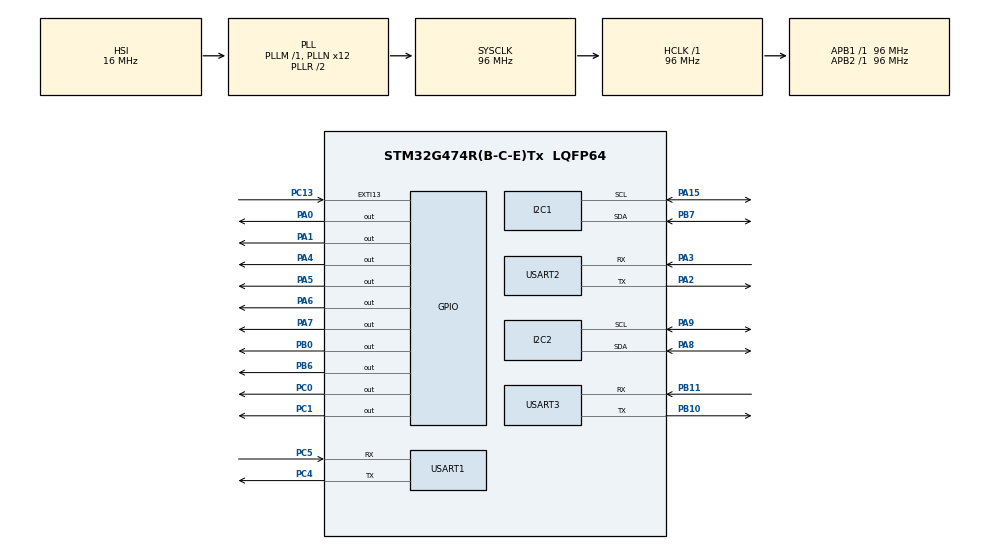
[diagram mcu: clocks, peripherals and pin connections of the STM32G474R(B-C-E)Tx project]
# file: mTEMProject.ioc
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I2C1.Timing=0x20B17DB6
I2C2.Timing=0x20B17DB6
Mcu.Family=STM32G4
Mcu.Name=STM32G474R(B-C-E)Tx
Mcu.Package=LQFP64
NUCLEO-G474RE.BUTTON=1
NUCLEO-G474RE.LD2=true
NUCLEO-G474RE.VCP=true
NVIC.EXTI15_10_IRQn=true\:0\:0\:false\:false\:true\:true\:true\:true
NVIC.PriorityGroup=NVIC_PRIORITYGROUP_4
NVIC.USART1_IRQn=true\:0\:0\:false\:false\:true\:true\:true\:true
NVIC.USART3_IRQn=true\:0\:0\:false\:false\:true\:true\:true\:true
PA0.GPIO_PuPd=GPIO_NOPULL
PA0.Signal=GPIO_Output
PA1.GPIO_PuPd=GPIO_NOPULL
PA1.Signal=GPIO_Output
PA13.GPIO_Label=T_SWDIO
PA13.Mode=Serial_Wire
PA13.Signal=SYS_JTMS-SWDIO
PA14.GPIO_Label=T_SWCLK
PA14.Mode=Serial_Wire
PA14.Signal=SYS_JTCK-SWCLK
PA15.Mode=I2C
PA15.Signal=I2C1_SCL
PA2.Mode=Asynchronous
PA2.Signal=USART2_TX
PA3.Mode=Asynchronous
PA3.Signal=USART2_RX
PA4.Signal=GPIO_Output
PA5.Signal=GPIO_Output
PA6.GPIO_PuPd=GPIO_NOPULL
PA6.Signal=GPIO_Output
PA7.GPIO_PuPd=GPIO_NOPULL
PA7.Signal=GPIO_Output
PA8.Mode=I2C
PA8.Signal=I2C2_SDA
PA9.Mode=I2C
PA9.Signal=I2C2_SCL
PB0.GPIO_PuPd=GPIO_NOPULL
PB0.Signal=GPIO_Output
PB10.Mode=Asynchronous
PB10.Signal=USART3_TX
PB11.Mode=Asynchronous
PB11.Signal=USART3_RX
PB3.GPIO_Label=T_SWO
PB3.Signal=SYS_JTDO-SWO
PB6.Signal=GPIO_Output
PB7.Mode=I2C
PB7.Signal=I2C1_SDA
PC0.Signal=GPIO_Output
PC1.GPIO_PuPd=GPIO_NOPULL
PC1.Signal=GPIO_Output
PC13.Signal=GPXTI13
PC14-OSC32_IN.GPIO_Label=RCC_OSC32_IN
PC14-OSC32_IN.Signal=RCC_OSC32_IN
PC15-OSC32_OUT.GPIO_Label=RCC_OSC32_OUT
PC15-OSC32_OUT.Signal=RCC_OSC32_OUT
PC4.Mode=Asynchronous
PC4.Signal=USART1_TX
PC5.Mode=Asynchronous
PC5.Signal=USART1_RX
PF0-OSC_IN.GPIO_Label=RCC_OSC_IN
PF0-OSC_IN.Mode=HSE-External-Oscillator
PF0-OSC_IN.Signal=RCC_OSC_IN
PF1-OSC_OUT.GPIO_Label=RCC_OSC_OUT
PF1-OSC_OUT.Mode=HSE-External-Oscillator
PF1-OSC_OUT.Signal=RCC_OSC_OUT
ProjectManager.HeapSize=0x200
ProjectManager.StackSize=0x400
ProjectManager.TargetToolchain=STM32CubeIDE
RCC.ADC12Freq_Value=96000000
RCC.ADC345Freq_Value=96000000
RCC.AHBFreq_Value=96000000
RCC.APB1Freq_Value=96000000
RCC.APB1TimFreq_Value=96000000
RCC.APB2Freq_Value=96000000
RCC.APB2TimFreq_Value=96000000
RCC.CortexFreq_Value=96000000
RCC.EXTERNAL_CLOCK_VALUE=12288000
RCC.HCLKFreq_Value=96000000
RCC.HSE_VALUE=24000000
RCC.HSI48_VALUE=48000000
RCC.HSI_VALUE=16000000
RCC.LSE_VALUE=32768
RCC.PLLN=12
RCC.PLLQ=RCC_PLLQ_DIV4
RCC.RTCClockSelection=RCC_RTCCLKSOURCE_LSE
RCC.SYSCLKFreq_VALUE=96000000
RCC.SYSCLKSource=RCC_SYSCLKSOURCE_PLLCLK
RCC.USBFreq_Value=48000000
RCC.VCOOutputFreq_Value=192000000
USART1.VirtualMode-Asynchronous=VM_ASYNC
USART3.VirtualMode-Asynchronous=VM_ASYNC
VP_NUCLEO-G474RE_VS_BSP_COMMON.Mode=COMMON
VP_SYS_VS_DBSignals.Mode=DisableDeadBatterySignals
board=NUCLEO-G474RE

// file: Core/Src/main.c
/* USER CODE BEGIN Header */
/**
  ******************************************************************************
  * @file           : main.c
  * @brief          : Main program body
  ******************************************************************************
  * @attention
  *
  * Copyright (c) 2025 STMicroelectronics.
  * All rights reserved.
  *
  * This software is licensed under terms that can be found in the LICENSE file
  * in the root directory of this software component.
  * If no LICENSE file comes with this software, it is provided AS-IS.
  *
  ******************************************************************************
  */
/* USER CODE END Header */
#include "main.h"

/* USER CODE BEGIN Includes */
#include <stdio.h>
#include <string.h>
#include <RRC_Batt.h>
#include <GSM_SMS.h>
#include <GSM_MQTT.h>
#include <GSM_time.h>
#include <GSM_sleep.h>
#include <Relay.h>
/* USER CODE END Includes */

COM_InitTypeDef BspCOMInit;
I2C_HandleTypeDef hi2c1;
I2C_HandleTypeDef hi2c2;

UART_HandleTypeDef huart1;
UART_HandleTypeDef huart3;

/* USER CODE BEGIN PV */
uint8_t message[512] = {0};
int scanDuration = 20000;
/* USER CODE END PV */

void SystemClock_Config(void);
static void MX_GPIO_Init(void);
static void MX_I2C1_Init(void);
static void MX_I2C2_Init(void);
static void MX_USART3_UART_Init(void);
static void MX_USART1_UART_Init(void);

/* USER CODE BEGIN 0 */

// User-defined wakeup for powering instruments using SMS
void power_system(const char* testtime){

    HAL_UART_Transmit(&huart3, (uint8_t*)"testtime: ", 10, 100);
    HAL_UART_Transmit(&huart3, (uint8_t*)testtime, strlen(testtime), 100);
    HAL_UART_Transmit(&huart3, (uint8_t*)"\r\n", 2, 100);

    HAL_UART_Transmit(&huart3, (uint8_t*)"timeGSM: ", 9, 100);
    HAL_UART_Transmit(&huart3, (uint8_t*)timeGSM, strlen(timeGSM), 100);
    HAL_UART_Transmit(&huart3, (uint8_t*)"\r\n", 2, 100);

	if(strcmp(testtime, timeGSM) == 0){
		relayOff(RELAY1_Port, RELAY1_Pin);
		relayOn(RELAY2_Port, RELAY2_Pin);
		relayOn(RELAY3_Port, RELAY3_Pin);
		relayOn(RELAY4_Port, RELAY4_Pin);
		relayOn(RELAY5_Port, RELAY5_Pin);
		relayOn(RELAY6_Port, RELAY6_Pin);
		relayOn(RELAY7_Port, RELAY7_Pin);
		HAL_Delay(scanDuration); // Waits for the scan to complete
	}else{
		relayOff(RELAY1_Port, RELAY1_Pin);
		relayOff(RELAY2_Port, RELAY2_Pin);
		relayOff(RELAY3_Port, RELAY3_Pin);
		relayOff(RELAY4_Port, RELAY4_Pin);
		relayOff(RELAY5_Port, RELAY5_Pin);
		relayOff(RELAY6_Port, RELAY6_Pin);
		relayOff(RELAY7_Port, RELAY7_Pin);
	}
}

// Decides which battery to charge
void charge_batt(){
	batt_temp1();
	HAL_Delay(500);
	batt_charge1();
	HAL_Delay(1000);
	batt_temp2();
	HAL_Delay(500);
	batt_charge2();
	HAL_Delay(1000);

	if(temp1 >= 60 || temp2 >= 60){
		relayOff(RELAY1_Port, RELAY1_Pin);
		relayOff(RELAY2_Port, RELAY2_Pin);
		relayOff(RELAY3_Port, RELAY3_Pin);
		relayOff(RELAY4_Port, RELAY4_Pin);
		relayOff(RELAY5_Port, RELAY5_Pin);
		relayOff(RELAY6_Port, RELAY6_Pin);
		relayOff(RELAY7_Port, RELAY7_Pin);
	}
	else if(batt1 < batt2){
		relayOn(RELAY1_Port, RELAY1_Pin);
		relayOn(RELAY2_Port, RELAY2_Pin);
		relayOff(RELAY3_Port, RELAY3_Pin);
		relayOff(RELAY4_Port, RELAY4_Pin);
		relayOff(RELAY5_Port, RELAY5_Pin);
		relayOff(RELAY6_Port, RELAY6_Pin);
		relayOff(RELAY7_Port, RELAY7_Pin);
	}
	else if(batt2 < batt1){
		relayOn(RELAY1_Port, RELAY1_Pin);
		relayOff(RELAY2_Port, RELAY2_Pin);
		relayOn(RELAY3_Port, RELAY3_Pin);
		relayOff(RELAY4_Port, RELAY4_Pin);
		relayOff(RELAY5_Port, RELAY5_Pin);
		relayOff(RELAY6_Port, RELAY6_Pin);
		relayOff(RELAY7_Port, RELAY7_Pin);
	}
	else if(batt1 == batt2){
		relayOn(RELAY1_Port, RELAY1_Pin);
		relayOn(RELAY2_Port, RELAY2_Pin);
		relayOff(RELAY3_Port, RELAY3_Pin);
		relayOff(RELAY4_Port, RELAY4_Pin);
		relayOff(RELAY5_Port, RELAY5_Pin);
		relayOff(RELAY6_Port, RELAY6_Pin);
		relayOff(RELAY7_Port, RELAY7_Pin);
	}
	else{
		relayOff(RELAY1_Port, RELAY1_Pin);
		relayOff(RELAY2_Port, RELAY2_Pin);
		relayOff(RELAY3_Port, RELAY3_Pin);
		relayOff(RELAY4_Port, RELAY4_Pin);
		relayOff(RELAY5_Port, RELAY5_Pin);
		relayOff(RELAY6_Port, RELAY6_Pin);
		relayOff(RELAY7_Port, RELAY7_Pin);
	}
}

void start_melody(){

	for(int i = 0; i <= 5; i++){
		relayOn(RELAY1_Port, RELAY1_Pin);
		HAL_Delay(50);
		relayOn(RELAY2_Port, RELAY2_Pin);
		HAL_Delay(50);
		relayOn(RELAY3_Port, RELAY3_Pin);
		HAL_Delay(50);
		relayOn(RELAY4_Port, RELAY4_Pin);
		HAL_Delay(50);
		relayOn(RELAY5_Port, RELAY5_Pin);
		HAL_Delay(50);
		relayOn(RELAY6_Port, RELAY6_Pin);
		relayOn(RELAY7_Port, RELAY7_Pin);
		HAL_Delay(50);
		relayOff(RELAY1_Port, RELAY1_Pin);
		relayOff(RELAY2_Port, RELAY2_Pin);
		relayOff(RELAY3_Port, RELAY3_Pin);
		relayOff(RELAY4_Port, RELAY4_Pin);
		relayOff(RELAY5_Port, RELAY5_Pin);
		relayOff(RELAY6_Port, RELAY6_Pin);
		relayOff(RELAY7_Port, RELAY7_Pin);
		HAL_Delay(100);
	}

}

void run_mTEM(){
	charge_batt();
	HAL_Delay(500);
	getTime();
	HAL_Delay(500);
	power_system("1135");
	HAL_Delay(2000);
	sleep();
}

/* USER CODE END 0 */

int main(void)
{

  /* MCU Configuration--------------------------------------------------------*/

  /* Reset of all peripherals, Initializes the Flash interface and the Systick. */
  HAL_Init();

  /* Configure the system clock */
  SystemClock_Config();

  /* Initialize all configured peripherals */
  MX_GPIO_Init();
  MX_I2C1_Init();
  MX_I2C2_Init();
  MX_USART3_UART_Init();
  MX_USART1_UART_Init();
  /* USER CODE BEGIN 2 */
start_melody();
startGPS();

//	receive_SMS();
  /* USER CODE END 2 */

  /* Initialize led */
  BSP_LED_Init(LED_GREEN);

  /* Initialize USER push-button, will be used to trigger an interrupt each time it's pressed.*/
  BSP_PB_Init(BUTTON_USER, BUTTON_MODE_EXTI);

  /* Initialize COM1 port (115200, 8 bits (7-bit data + 1 stop bit), no parity */
  BspCOMInit.BaudRate   = 115200;
  BspCOMInit.WordLength = COM_WORDLENGTH_8B;
  BspCOMInit.StopBits   = COM_STOPBITS_1;
  BspCOMInit.Parity     = COM_PARITY_NONE;
  BspCOMInit.HwFlowCtl  = COM_HWCONTROL_NONE;
  if (BSP_COM_Init(COM1, &BspCOMInit) != BSP_ERROR_NONE)
  {
    Error_Handler();
  }

  /* Infinite loop */
  while (1){

    /* USER CODE BEGIN 3 */

	  run_mTEM();

  }
  /* USER CODE END 3 */
}

void SystemClock_Config(void)
{
  RCC_OscInitTypeDef RCC_OscInitStruct = {0};
  RCC_ClkInitTypeDef RCC_ClkInitStruct = {0};

  /** Configure the main internal regulator output voltage
  */
  HAL_PWREx_ControlVoltageScaling(PWR_REGULATOR_VOLTAGE_SCALE1);

  /** Initializes the RCC Oscillators according to the specified parameters
  * in the RCC_OscInitTypeDef structure.
  */
  RCC_OscInitStruct.OscillatorType = RCC_OSCILLATORTYPE_HSI;
  RCC_OscInitStruct.HSIState = RCC_HSI_ON;
  RCC_OscInitStruct.HSICalibrationValue = RCC_HSICALIBRATION_DEFAULT;
  RCC_OscInitStruct.PLL.PLLState = RCC_PLL_ON;
  RCC_OscInitStruct.PLL.PLLSource = RCC_PLLSOURCE_HSI;
  RCC_OscInitStruct.PLL.PLLM = RCC_PLLM_DIV1;
  RCC_OscInitStruct.PLL.PLLN = 12;
  RCC_OscInitStruct.PLL.PLLP = RCC_PLLP_DIV2;
  RCC_OscInitStruct.PLL.PLLQ = RCC_PLLQ_DIV4;
  RCC_OscInitStruct.PLL.PLLR = RCC_PLLR_DIV2;
  if (HAL_RCC_OscConfig(&RCC_OscInitStruct) != HAL_OK)
  {
    Error_Handler();
  }

  /** Initializes the CPU, AHB and APB buses clocks
  */
  RCC_ClkInitStruct.ClockType = RCC_CLOCKTYPE_HCLK|RCC_CLOCKTYPE_SYSCLK
                              |RCC_CLOCKTYPE_PCLK1|RCC_CLOCKTYPE_PCLK2;
  RCC_ClkInitStruct.SYSCLKSource = RCC_SYSCLKSOURCE_PLLCLK;
  RCC_ClkInitStruct.AHBCLKDivider = RCC_SYSCLK_DIV1;
  RCC_ClkInitStruct.APB1CLKDivider = RCC_HCLK_DIV1;
  RCC_ClkInitStruct.APB2CLKDivider = RCC_HCLK_DIV1;

  if (HAL_RCC_ClockConfig(&RCC_ClkInitStruct, FLASH_LATENCY_3) != HAL_OK)
  {
    Error_Handler();
  }
}

static void MX_I2C1_Init(void)
{

  hi2c1.Instance = I2C1;
  hi2c1.Init.Timing = 0x20B17DB6;
  hi2c1.Init.OwnAddress1 = 0;
  hi2c1.Init.AddressingMode = I2C_ADDRESSINGMODE_7BIT;
  hi2c1.Init.DualAddressMode = I2C_DUALADDRESS_DISABLE;
  hi2c1.Init.OwnAddress2 = 0;
  hi2c1.Init.OwnAddress2Masks = I2C_OA2_NOMASK;
  hi2c1.Init.GeneralCallMode = I2C_GENERALCALL_DISABLE;
  hi2c1.Init.NoStretchMode = I2C_NOSTRETCH_DISABLE;
  if (HAL_I2C_Init(&hi2c1) != HAL_OK)
  {
    Error_Handler();
  }

  /** Configure Analogue filter
  */
  if (HAL_I2CEx_ConfigAnalogFilter(&hi2c1, I2C_ANALOGFILTER_ENABLE) != HAL_OK)
  {
    Error_Handler();
  }

  /** Configure Digital filter
  */
  if (HAL_I2CEx_ConfigDigitalFilter(&hi2c1, 0) != HAL_OK)
  {
    Error_Handler();
  }

}

static void MX_I2C2_Init(void)
{

  hi2c2.Instance = I2C2;
  hi2c2.Init.Timing = 0x20B17DB6;
  hi2c2.Init.OwnAddress1 = 0;
  hi2c2.Init.AddressingMode = I2C_ADDRESSINGMODE_7BIT;
  hi2c2.Init.DualAddressMode = I2C_DUALADDRESS_DISABLE;
  hi2c2.Init.OwnAddress2 = 0;
  hi2c2.Init.OwnAddress2Masks = I2C_OA2_NOMASK;
  hi2c2.Init.GeneralCallMode = I2C_GENERALCALL_DISABLE;
  hi2c2.Init.NoStretchMode = I2C_NOSTRETCH_DISABLE;
  if (HAL_I2C_Init(&hi2c2) != HAL_OK)
  {
    Error_Handler();
  }

  /** Configure Analogue filter
  */
  if (HAL_I2CEx_ConfigAnalogFilter(&hi2c2, I2C_ANALOGFILTER_ENABLE) != HAL_OK)
  {
    Error_Handler();
  }

  /** Configure Digital filter
  */
  if (HAL_I2CEx_ConfigDigitalFilter(&hi2c2, 0) != HAL_OK)
  {
    Error_Handler();
  }

}

static void MX_USART1_UART_Init(void)
{

  huart1.Instance = USART1;
  huart1.Init.BaudRate = 115200;
  huart1.Init.WordLength = UART_WORDLENGTH_8B;
  huart1.Init.StopBits = UART_STOPBITS_1;
  huart1.Init.Parity = UART_PARITY_NONE;
  huart1.Init.Mode = UART_MODE_TX_RX;
  huart1.Init.HwFlowCtl = UART_HWCONTROL_NONE;
  huart1.Init.OverSampling = UART_OVERSAMPLING_16;
  huart1.Init.OneBitSampling = UART_ONE_BIT_SAMPLE_DISABLE;
  huart1.Init.ClockPrescaler = UART_PRESCALER_DIV1;
  huart1.AdvancedInit.AdvFeatureInit = UART_ADVFEATURE_NO_INIT;
  if (HAL_UART_Init(&huart1) != HAL_OK)
  {
    Error_Handler();
  }
  if (HAL_UARTEx_SetTxFifoThreshold(&huart1, UART_TXFIFO_THRESHOLD_1_8) != HAL_OK)
  {
    Error_Handler();
  }
  if (HAL_UARTEx_SetRxFifoThreshold(&huart1, UART_RXFIFO_THRESHOLD_1_8) != HAL_OK)
  {
    Error_Handler();
  }
  if (HAL_UARTEx_DisableFifoMode(&huart1) != HAL_OK)
  {
    Error_Handler();
  }

}

static void MX_USART3_UART_Init(void)
{

  huart3.Instance = USART3;
  huart3.Init.BaudRate = 115200;
  huart3.Init.WordLength = UART_WORDLENGTH_8B;
  huart3.Init.StopBits = UART_STOPBITS_1;
  huart3.Init.Parity = UART_PARITY_NONE;
  huart3.Init.Mode = UART_MODE_TX_RX;
  huart3.Init.HwFlowCtl = UART_HWCONTROL_NONE;
  huart3.Init.OverSampling = UART_OVERSAMPLING_16;
  huart3.Init.OneBitSampling = UART_ONE_BIT_SAMPLE_DISABLE;
  huart3.Init.ClockPrescaler = UART_PRESCALER_DIV1;
  huart3.AdvancedInit.AdvFeatureInit = UART_ADVFEATURE_NO_INIT;
  if (HAL_UART_Init(&huart3) != HAL_OK)
  {
    Error_Handler();
  }
  if (HAL_UARTEx_SetTxFifoThreshold(&huart3, UART_TXFIFO_THRESHOLD_1_8) != HAL_OK)
  {
    Error_Handler();
  }
  if (HAL_UARTEx_SetRxFifoThreshold(&huart3, UART_RXFIFO_THRESHOLD_1_8) != HAL_OK)
  {
    Error_Handler();
  }
  if (HAL_UARTEx_DisableFifoMode(&huart3) != HAL_OK)
  {
    Error_Handler();
  }

}

static void MX_GPIO_Init(void)
{
  GPIO_InitTypeDef GPIO_InitStruct = {0};

  /* GPIO Ports Clock Enable */
  __HAL_RCC_GPIOC_CLK_ENABLE();
  __HAL_RCC_GPIOF_CLK_ENABLE();
  __HAL_RCC_GPIOA_CLK_ENABLE();
  __HAL_RCC_GPIOB_CLK_ENABLE();

  /*Configure GPIO pin Output Level */
  HAL_GPIO_WritePin(GPIOC, GPIO_PIN_0|GPIO_PIN_1, GPIO_PIN_RESET);

  /*Configure GPIO pin Output Level */
  HAL_GPIO_WritePin(GPIOA, GPIO_PIN_0|GPIO_PIN_1|GPIO_PIN_4|GPIO_PIN_6
                          |GPIO_PIN_7, GPIO_PIN_RESET);

  /*Configure GPIO pin Output Level */
  HAL_GPIO_WritePin(GPIOB, GPIO_PIN_0|GPIO_PIN_6, GPIO_PIN_RESET);

  /*Configure GPIO pins : PC0 PC1 */
  GPIO_InitStruct.Pin = GPIO_PIN_0|GPIO_PIN_1;
  GPIO_InitStruct.Mode = GPIO_MODE_OUTPUT_PP;
  GPIO_InitStruct.Pull = GPIO_NOPULL;
  GPIO_InitStruct.Speed = GPIO_SPEED_FREQ_LOW;
  HAL_GPIO_Init(GPIOC, &GPIO_InitStruct);

  /*Configure GPIO pins : PA0 PA1 PA4 PA6
                           PA7 */
  GPIO_InitStruct.Pin = GPIO_PIN_0|GPIO_PIN_1|GPIO_PIN_4|GPIO_PIN_6
                          |GPIO_PIN_7;
  GPIO_InitStruct.Mode = GPIO_MODE_OUTPUT_PP;
  GPIO_InitStruct.Pull = GPIO_NOPULL;
  GPIO_InitStruct.Speed = GPIO_SPEED_FREQ_LOW;
  HAL_GPIO_Init(GPIOA, &GPIO_InitStruct);

  /*Configure GPIO pins : PB0 PB6 */
  GPIO_InitStruct.Pin = GPIO_PIN_0|GPIO_PIN_6;
  GPIO_InitStruct.Mode = GPIO_MODE_OUTPUT_PP;
  GPIO_InitStruct.Pull = GPIO_NOPULL;
  GPIO_InitStruct.Speed = GPIO_SPEED_FREQ_LOW;
  HAL_GPIO_Init(GPIOB, &GPIO_InitStruct);

}

void Error_Handler(void)
{
  __disable_irq();
  while (1)
  {
  }
}
